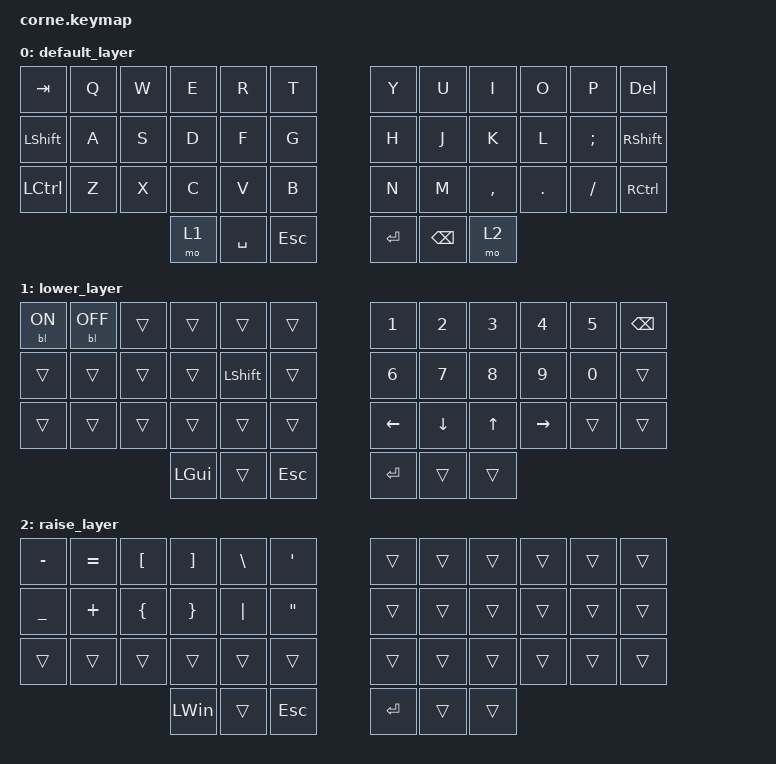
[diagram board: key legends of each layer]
/*
 * Copyright (c) 2020 The ZMK Contributors
 *
 * SPDX-License-Identifier: MIT
 */

#include <behaviors.dtsi>
#include <dt-bindings/zmk/backlight.h>
#include <dt-bindings/zmk/keys.h>

/ {
    keymap {
        compatible = "zmk,keymap";

        default_layer {
            // -----------------------------------------------------------------------------------------
            // |  TAB |  Q  |  W  |  E  |  R  |  T  |   |  Y  |  U   |  I  |  O  |  P  | BSPC |
            // | CTRL |  A  |  S  |  D  |  F  |  G  |   |  H  |  J   |  K  |  L  |  ;  |  '   |
            // | SHFT |  Z  |  X  |  C  |  V  |  B  |   |  N  |  M   |  ,  |  .  |  /  | ESC  |
            //                    | GUI | LWR | SPC |   | ENT | RSE  | ALT |

            bindings = <
&kp TAB           &kp Q  &kp W  &kp E  &kp R      &kp T      &kp Y    &kp U          &kp I      &kp O    &kp P     &kp DEL
&kp LSHIFT        &kp A  &kp S  &kp D  &kp F      &kp G      &kp H    &kp J          &kp K      &kp L    &kp SEMI  &kp RIGHT_SHIFT
&kp LEFT_CONTROL  &kp Z  &kp X  &kp C  &kp V      &kp B      &kp N    &kp M          &kp COMMA  &kp DOT  &kp FSLH  &kp RIGHT_CONTROL
                                &mo 1  &kp SPACE  &kp ESC    &kp RET  &kp BACKSPACE  &mo 2
            >;
        };

        lower_layer {
            // -----------------------------------------------------------------------------------------
            // |  TAB |  1  |  2  |  3  |  4  |  5  |   |  6  |  7  |  8  |  9  |  0  | BSPC |
            // | BTCLR| BT1 | BT2 | BT3 | BT4 | BT5 |   | LFT | DWN |  UP | RGT |     |      |
            // | SHFT |     |     |     |     |     |   |     |     |     |     |     |      |
            //                    | GUI |     | SPC |   | ENT |     | ALT |

            bindings = <
&bl BL_ON  &bl BL_OFF  &trans  &trans    &trans          &trans     &kp NUMBER_1  &kp NUMBER_2  &kp NUMBER_3  &kp NUMBER_4  &kp NUMBER_5  &kp BSPC
&trans     &trans      &trans  &trans    &kp LEFT_SHIFT  &trans     &kp NUMBER_6  &kp NUMBER_7  &kp NUMBER_8  &kp N9        &kp NUMBER_0  &trans
&trans     &trans      &trans  &trans    &trans          &trans     &kp LEFT      &kp DOWN      &kp UP        &kp RIGHT     &trans        &trans
                               &kp LGUI  &trans          &kp ESC    &kp RET       &trans        &trans
            >;
        };

        raise_layer {
            // -----------------------------------------------------------------------------------------
            // |  TAB |  !  |  @  |  #  |  $  |  %  |   |  ^  |  &  |  *  |  (  |  )  | BSPC |
            // | CTRL |     |     |     |     |     |   |  -  |  =  |  [  |  ]  |  \  |  `   |
            // | SHFT |     |     |     |     |     |   |  _  |  +  |  {  |  }  | "|" |  ~   |
            //                    | GUI |     | SPC |   | ENT |     | ALT |

            bindings = <
&kp MINUS       &kp EQUAL  &kp LEFT_BRACKET  &kp RIGHT_BRACKET  &kp BACKSLASH  &kp SQT              &trans   &trans  &trans  &trans  &trans  &trans
&kp UNDERSCORE  &kp PLUS   &kp LEFT_BRACE    &kp RIGHT_BRACE    &kp PIPE       &kp DOUBLE_QUOTES    &trans   &trans  &trans  &trans  &trans  &trans
&trans          &trans     &trans            &trans             &trans         &trans               &trans   &trans  &trans  &trans  &trans  &trans
                                             &kp LEFT_WIN       &trans         &kp ESCAPE           &kp RET  &trans  &trans
            >;
        };
    };
};
